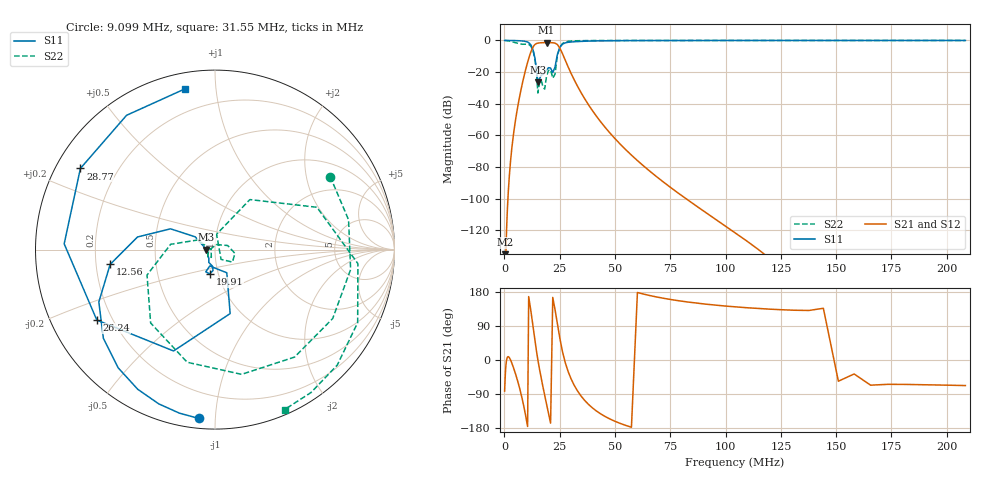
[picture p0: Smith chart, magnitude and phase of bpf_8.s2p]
! NeoRadio BPF 8: 16-22 MHz, selected in the bank
! generated_by 859cd57
# HZ S RI R 50
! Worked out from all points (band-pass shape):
!   182 points, 50 kHz to 208.4 MHz, reference 50 ohm
!   highest |S21| = -1.36 dB at 19.01 MHz (marker M1); lowest = -198.9 dB at 65.91 kHz (marker M2)
!   |S21| within 3 dB of the highest: 12.85 MHz to 24.8 MHz (11.95 MHz wide, 63.5 % of centre)
!   lowest |S11| = -26.5 dB at 15.1 MHz (marker M3), VSWR 1.10, Z = 45.5 + j0.0166 ohm
!   |S11| at or under -10 dB: 13.58 MHz to 23.76 MHz (10.18 MHz wide, 54.5 % of centre)
!   |S22| runs from -33.2 to 0.0 dB; largest |S21 - S12| = 0
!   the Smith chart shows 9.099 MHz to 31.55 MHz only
!   S11 on the Smith chart (normalised r, x): 9.099 MHz: 0.05, -0.91; 12.56 MHz: 0.26, -0.07; 19.91 MHz: 0.91, -0.25; 26.24 MHz: 0.14, -0.27; 28.77 MHz: 0.07, +0.28; 31.55 MHz: 0.08, +0.83
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50000  1 -0.00775  6.79e-12 -4.88e-11  6.79e-12 -4.88e-11  0.9995 -0.0318
65912.84  0.9999 -0.0102  2.05e-11 -1.12e-10  2.05e-11 -1.12e-10  0.9991 -0.0419
208434.7  0.9995 -0.0323  2.07e-09 -3.35e-09  2.07e-09 -3.35e-09  0.9908 -0.132
829793.5  0.9915 -0.1284  6.12e-07 -4.49e-08  6.12e-07 -4.49e-08  0.859 -0.4974
3303467  0.8639 -0.4955  0.000385 -5.4e-05  0.000385 -5.4e-05  -0.3734 -0.833
5740768  0.5817 -0.7964  0.00405 -0.00503  0.00405 -0.00503  -0.7985 0.1821
9098504  -0.0908 -0.9407  -0.0608 -0.0655  -0.0608 -0.0655  0.6417 0.4072
1.093881e7  -0.5398 -0.6584  -0.2609 0.0585  -0.2609 0.0585  0.4431 -0.5989
1.255943e7  -0.5841 -0.0824  -0.1269 0.5413  -0.1269 0.5413  -0.3585 -0.409
1.315134e7  -0.4316 0.0703  0.1425 0.6464  0.1425 0.6464  -0.3787 -0.1417
1.509976e7  -0.0474 0.000182  0.8244 0.00394  0.8244 0.00394  -0.0219 -5.62e-05
1.900947e7  -0.0109 -0.1166  -0.3789 -0.7669  -0.3789 -0.7669  0.0708 0.0229
1.990536e7  -0.029 -0.135  -0.661 -0.5394  -0.661 -0.5394  0.1114 -0.0215
2.182579e7  -0.0293 -0.0915  -0.8183 0.2168  -0.8183 0.2168  0.0337 -0.0545
2.39315e7  0.0844 -0.3565  -0.0725 0.7372  -0.0725 0.7372  0.1944 0.2787
2.624037e7  -0.6585 -0.3925  0.3536 0.1401  0.3536 0.1401  0.796 -0.0779
2.8772e7  -0.75 0.4522  0.1265 -0.074  0.1265 -0.074  0.6811 -0.6436
3.154787e7  -0.1681 0.8952  0.0222 -0.0522  0.0222 -0.0522  0.388 -0.8909
3.971641e7  0.9085 0.3149  -0.00362 -0.00495  -0.00362 -0.00495  -0.1757 -0.9762
5.235643e7  0.7848 -0.5987  -0.000515 -0.000115  -0.000515 -0.000115  -0.5489 -0.8319
6.591284e7  0.3639 -0.9254  -7.09e-05 1.27e-05  -7.09e-05 1.27e-05  -0.7221 -0.6885
2.084347e8  -0.8184 -0.5721  3.89e-08 -9.36e-08  3.89e-08 -9.36e-08  -0.972 -0.2271
